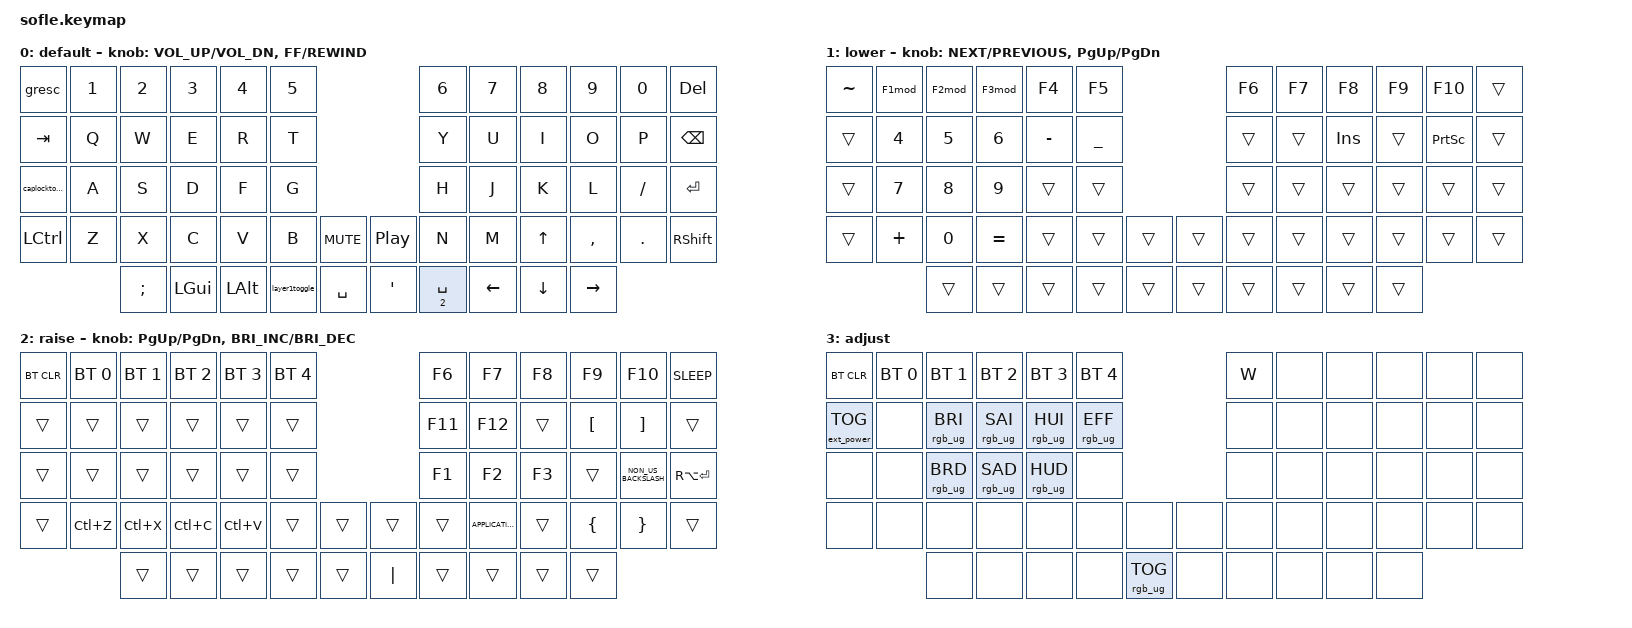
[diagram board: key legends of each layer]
/*
 * Copyright (c) 2020 The ZMK Contributors
 *
 * SPDX-License-Identifier: MIT
 */

#include <behaviors.dtsi>
#include <dt-bindings/zmk/bt.h>
#include <dt-bindings/zmk/ext_power.h>
#include <dt-bindings/zmk/keys.h>
#include <dt-bindings/zmk/rgb.h>

#define BASE 0
#define LOWER 1
#define RAISE 2
#define ADJUST 3

&gresc { mods = <(MOD_LGUI|MOD_RGUI|MOD_RSFT)>; };

/ {
    // Activate ADJUST layer by pressing raise and lower

    conditional_layers {
        compatible = "zmk,conditional-layers";

        adjust_layer {
            if-layers = <LOWER RAISE>;
            then-layer = <ADJUST>;
        };
    };

    combos { compatible = "zmk,combos"; };

    behaviors {
        layer1toggle: layer1toggle {
            compatible = "zmk,behavior-tap-dance";
            label = "LAYER1TOGGLE";
            #binding-cells = <0>;
            bindings = <&mo 1>, <&tog 1>;

            tapping-term-ms = <400>;
        };

        spacelayer2: spacelayer2 {
            compatible = "zmk,behavior-hold-tap";
            label = "SPACELAYER2";
            bindings = <&layer_macro>, <&kp>;

            #binding-cells = <2>;
            hold-trigger-key-positions = <56>;
            tapping-term-ms = <500>;
        };

        caplocktoggle: caplocktoggle {
            compatible = "zmk,behavior-tap-dance";
            label = "CAPLOCKTOGGLE";
            #binding-cells = <0>;
            bindings = <&kp LEFT_SHIFT>, <&caplock_macro>;

            tapping-term-ms = <400>;
        };

        F1mod: F1mod {
            compatible = "zmk,behavior-mod-morph";
            label = "F1MOD";
            bindings = <&kp NUMBER_1>, <&kp F1>;

            #binding-cells = <0>;
            mods = <(MOD_LSFT)>;
        };

        F2mod: F2mod {
            compatible = "zmk,behavior-mod-morph";
            label = "F2MOD";
            bindings = <&kp NUMBER_2>, <&kp F2>;

            #binding-cells = <0>;
            mods = <(MOD_LSFT)>;
        };

        F3mod: F3mod {
            compatible = "zmk,behavior-mod-morph";
            label = "F3MOD";
            bindings = <&kp NUMBER_3>, <&kp F3>;

            #binding-cells = <0>;
            mods = <(MOD_LSFT)>;
        };
    };

    macros {
        layer_macro: adjustedlayer_macro {
            compatible = "zmk,behavior-macro-one-param";
            #binding-cells = <1>;
            bindings =
                <&macro_press>,
                <&macro_param_1to1 &mo MACRO_PLACEHOLDER>,
                <&macro_tap>,
                <&rgb_ug RGB_BRI &rgb_ug RGB_BRI &rgb_ug RGB_BRI &rgb_ug RGB_BRI>,
                <&macro_pause_for_release>,
                <&macro_release>,
                <&macro_param_1to1 &mo MACRO_PLACEHOLDER>,
                <&macro_tap>,
                <&rgb_ug RGB_BRD &rgb_ug RGB_BRD &rgb_ug RGB_BRD &rgb_ug RGB_BRD>;

            label = "ADJUSTEDLAYER_MACRO";
        };

        caplock_macro: caplock_macro {
            compatible = "zmk,behavior-macro";
            #binding-cells = <0>;
            bindings =
                <&macro_press>,
                <&kp CLCK>,
                <&macro_tap>,
                <&rgb_ug RGB_BRI &rgb_ug RGB_BRI &rgb_ug RGB_BRI &rgb_ug RGB_BRI>,
                <&macro_pause_for_release>,
                <&macro_release>,
                <&kp CLCK>,
                <&macro_tap>,
                <&rgb_ug RGB_BRD &rgb_ug RGB_BRD &rgb_ug RGB_BRD &rgb_ug RGB_BRD>;

            label = "CAPLOCK_MACRO";
        };
    };

    keymap {
        compatible = "zmk,keymap";

        default_layer {
            label = "default";

            // ------------------------------------------------------------------------------------------------------------
            // |   `   |  1  |  2  |  3   |  4   |  5   |                   |  6   |  7    |  8    |  9   |   0   |       |
            // |  ESC  |  Q  |  W  |  E   |  R   |  T   |                   |  Y   |  U    |  I    |  O   |   P   | BKSPC |
            // |  TAB  |  A  |  S  |  D   |  F   |  G   |                   |  H   |  J    |  K    |  L   |   ;   |   '   |
            // | SHIFT |  Z  |  X  |  C   |  V   |  B   |  MUTE  |  |       |  N   |  M    |  ,    |  .   |   /   | SHIFT |
            //               | GUI | ALT  | CTRL | LOWER|  ENTER |  | SPACE | RAISE| CTRL  | ALT   | GUI  |

            bindings = <
&gresc          &kp N1  &kp N2         &kp N3        &kp N4        &kp N5                                         &kp N6                &kp N7    &kp N8        &kp N9     &kp N0      &kp DELETE
&kp TAB         &kp Q   &kp W          &kp E         &kp R         &kp T                                          &kp Y                 &kp U     &kp I         &kp O      &kp P       &kp BACKSPACE
&caplocktoggle  &kp A   &kp S          &kp D         &kp F         &kp G                                          &kp H                 &kp J     &kp K         &kp L      &kp SLASH   &kp ENTER
&kp LCTRL       &kp Z   &kp X          &kp C         &kp V         &kp B          &kp C_MUTE    &kp C_PLAY_PAUSE  &kp N                 &kp M     &kp UP_ARROW  &kp COMMA  &kp PERIOD  &kp RSHFT
                        &kp SEMICOLON  &kp LEFT_GUI  &kp LEFT_ALT  &layer1toggle  &kp SPACE     &kp SINGLE_QUOTE  &spacelayer2 2 SPACE  &kp LEFT  &kp DOWN      &kp RIGHT
            >;

            sensor-bindings =
                <&inc_dec_kp C_VOL_UP C_VOL_DN>,
                <&inc_dec_kp C_FF C_REWIND>;
        };

        lower_layer {
            label = "lower";

            // TODO: Some binds are waiting for shifted keycode support.
            // ------------------------------------------------------------------------------------------------------------
            // |       |  F1 |  F2 |  F3  |  F4  |  F5  |                   |  F6  |  F7   |  F8   |  F9  |  F10  |  F11  |
            // |   `   |  1  |  2  |  3   |  4   |  5   |                   |  6   |  7    |  8    |  9   |   0   |  F12  |
            // |       |  !  |  @  |  #   |  $   |  %   |                   |  ^   |  &    |  *    |  (   |   )   |   |   |
            // |       |  =  |  -  |  +   |  {   |  }   |        |  |       |  [   |  ]    |  ;    |  :   |   \   |       |
            //               |     |      |      |      |        |  |       |      |       |       |      |

            bindings = <
&kp TILDE  &F1mod        &F2mod  &F3mod        &kp F4     &kp F5                       &kp F6  &kp F7  &kp F8      &kp F9  &kp F10          &trans
&trans     &kp NUMBER_4  &kp N5  &kp NUMBER_6  &kp MINUS  &kp UNDER                    &trans  &trans  &kp INSERT  &trans  &kp PRINTSCREEN  &trans
&trans     &kp N7        &kp N8  &kp N9        &trans     &trans                       &trans  &trans  &trans      &trans  &trans           &trans
&trans     &kp PLUS      &kp N0  &kp EQUAL     &trans     &trans     &trans    &trans  &trans  &trans  &trans      &trans  &trans           &trans
                         &trans  &trans        &trans     &trans     &trans    &trans  &trans  &trans  &trans      &trans
            >;

            sensor-bindings =
                <&inc_dec_kp C_NEXT C_PREVIOUS>,
                <&inc_dec_kp PG_UP PG_DN>;
        };

        raise_layer {
            label = "raise";

            // ------------------------------------------------------------------------------------------------------------
            // | BTCLR | BT1  | BT2  |  BT3  |  BT4  |  BT5 |                |      |      |       |      |       |       |
            // |       | INS  | PSCR | GUI   |       |      |                | PGUP |      |   ^   |      |       |       |
            // |       | ALT  | CTRL | SHIFT |       | CAPS |                | PGDN |   <- |   v   |  ->  |  DEL  | BKSPC |
            // |       | UNDO | CUT  | COPY  | PASTE |      |      |  |      |      |      |       |      |       |       |
            //                |      |       |       |      |      |  |      |      |      |       |      |

            bindings = <
&bt BT_CLR  &bt BT_SEL 0  &bt BT_SEL 1  &bt BT_SEL 2  &bt BT_SEL 3  &bt BT_SEL 4                      &kp F6   &kp F7             &kp F8  &kp F9            &kp F10               &kp K_SLEEP
&trans      &trans        &trans        &trans        &trans        &trans                            &kp F11  &kp F12            &trans  &kp LEFT_BRACKET  &kp RIGHT_BRACKET     &trans
&trans      &trans        &trans        &trans        &trans        &trans                            &kp F1   &kp F2             &kp F3  &trans            &kp NON_US_BACKSLASH  &kp RA(ENTER)
&trans      &kp LC(Z)     &kp LC(X)     &kp LC(C)     &kp LC(V)     &trans        &trans    &trans    &trans   &kp K_APPLICATION  &trans  &kp LEFT_BRACE    &kp RIGHT_BRACE       &trans
                          &trans        &trans        &trans        &trans        &trans    &kp PIPE  &trans   &trans             &trans  &trans
            >;

            sensor-bindings =
                <&inc_dec_kp PAGE_UP PAGE_DOWN>,
                <&inc_dec_kp C_BRIGHTNESS_INC C_BRIGHTNESS_DEC>;
        };

        adjust_layer {
            // ----------------------------------------------------------------------------------------------------------------------------
            // | BTCLR  |  BT1    |  BT2    |   BT3   |   BT4   |   BT5   |                  |      |      |       |      |       |       |
            // | EXTPWR | RGB_HUD | RGB_HUI | RGB_SAD | RGB_SAI | RGB_EFF |                  |      |      |       |      |       |       |
            // |        | RGB_BRD | RGB_BRI |         |         |         |                  |      |      |       |      |       |       |
            // |        |         |         |         |         |         | RGB_TOG | |      |      |      |       |      |       |       |
            //                    |         |         |         |         |         | |      |      |      |       |      |

            label = "adjust";
            bindings = <
&bt BT_CLR         &bt BT_SEL 0  &bt BT_SEL 1     &bt BT_SEL 2     &bt BT_SEL 3     &bt BT_SEL 4                               &kp W  &none  &none  &none  &none  &none
&ext_power EP_TOG  &none         &rgb_ug RGB_BRI  &rgb_ug RGB_SAI  &rgb_ug RGB_HUI  &rgb_ug RGB_EFF                            &none  &none  &none  &none  &none  &none
&none              &none         &rgb_ug RGB_BRD  &rgb_ug RGB_SAD  &rgb_ug RGB_HUD  &none                                      &none  &none  &none  &none  &none  &none
&none              &none         &none            &none            &none            &none            &none              &none  &none  &none  &none  &none  &none  &none
                                 &none            &none            &none            &none            &rgb_ug RGB_TOG    &none  &none  &none  &none  &none
            >;
        };
    };
};
